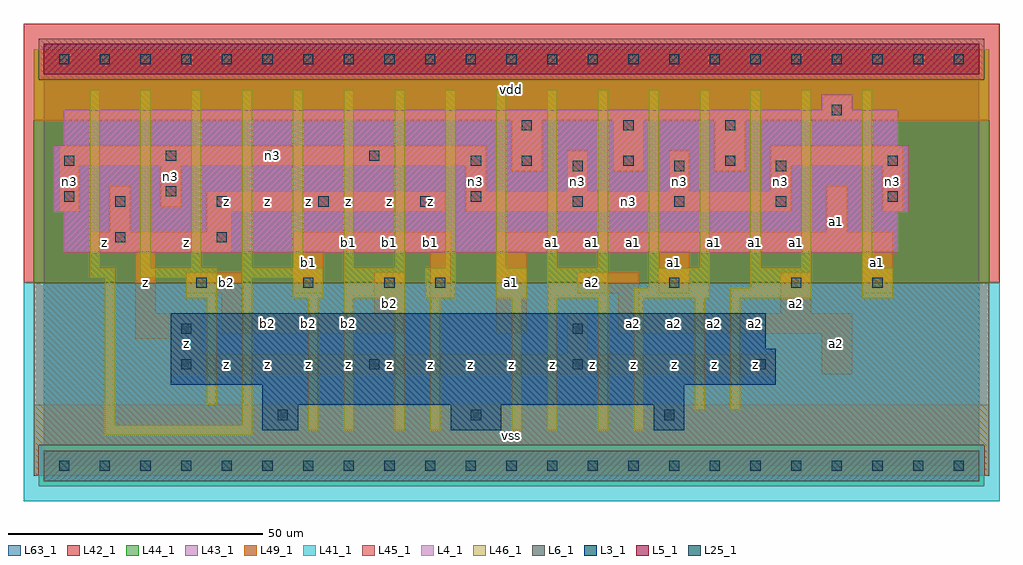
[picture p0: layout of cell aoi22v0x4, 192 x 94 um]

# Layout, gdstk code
import gdstk
lib = gdstk.Library(unit=1e-6, precision=1e-09)
def R(c, l, rs):  # rectangles x0, y0, x1, y1
    for r in rs: c.add(gdstk.rectangle(r[:2], r[2:], *l))
def A(c, l, x, y, w, h, nx, ny, dx, dy):  # array of equal rectangles
    R(c, l, [(x+i*dx, y+j*dy, x+i*dx+w, y+j*dy+h) for i in range(nx) for j in range(ny)])
L3_1 = (3, 1)
L4_1 = (4, 1)
L5_1 = (5, 1)
L6_1 = (6, 1)
L25_1 = (25, 1)
L41_1 = (41, 1)
L42_1 = (42, 1)
L43_1 = (43, 1)
L44_1 = (44, 1)
L45_1 = (45, 1)
L46_1 = (46, 1)
L49_1 = (49, 1)
L63_1 = (63, 1)

aoi22v0x4 = lib.new_cell('aoi22v0x4')
R(aoi22v0x4, L3_1, [(43,7,50,12), (80,7,90,12), (120,7,126,12), (43,12,126,16), (25,16,144,23), (25,23,142,30)])
R(aoi22v0x4, L4_1, [(4,42,168,50), (2,50,170,63), (4,63,168,70), (153,70,159,73)])
R(aoi22v0x4, L5_1, [(0,77,184,83)])
R(aoi22v0x4, L6_1, [(0,-3,184,3), (0,-3,184,3)])
A(aoi22v0x4, L25_1, 3, -1, 2, 2, 23, 2, 8, 80)
A(aoi22v0x4, L25_1, 46, 9, 2, 2, 3, 1, 38, 0)
A(aoi22v0x4, L25_1, 91, 35, 2, 2, 3, 1, 16, 0)
A(aoi22v0x4, L25_1, 14, 51, 2, 2, 4, 1, 20, 0)
A(aoi22v0x4, L25_1, 104, 51, 2, 2, 3, 2, 20, 7)
A(aoi22v0x4, L25_1, 94, 59, 2, 2, 3, 2, 20, 7)
A(aoi22v0x4, L25_1, 24, 60, 2, 2, 3, 1, 20, 0)
R(aoi22v0x4, L25_1, [(27,19,29,21), (64,19,66,21), (104,19,106,21), (140,19,142,21), (27,26,29,28), (104,26,106,28), (30,35,32,37), (51,35,53,37), (67,35,69,37), (77,35,79,37), (147,35,149,37), (163,35,165,37), (14,44,16,46), (34,44,36,46), (4,52,6,54), (84,52,86,54), (166,52,168,54), (24,53,26,55), (4,59,6,61), (84,59,86,61), (166,59,168,61), (155,69,157,71)])
R(aoi22v0x4, L41_1, [(-4,-7,188,36)])
R(aoi22v0x4, L42_1, [(-4,36,188,87)])
R(aoi22v0x4, L43_1, [(0,-3,184,3), (43,7,50,12), (80,7,90,12), (120,7,126,12), (43,12,126,16), (25,16,144,23), (25,23,142,30), (4,42,168,50), (2,50,170,63), (4,63,168,70), (153,70,159,73), (0,77,184,83)])
R(aoi22v0x4, L44_1, [(-1,-4,185,4), (-2,36,186,76), (-2,76,-1,82), (185,76,186,82)])
R(aoi22v0x4, L45_1, [(-2,-2,-1,4), (185,-2,186,4), (-2,4,186,36), (-1,76,185,84)])
A(aoi22v0x4, L46_1, 9, 39, 2, 35, 15, 1, 10, 0)
R(aoi22v0x4, L46_1, [(12,6,41,8), (52,7,54,33), (59,7,61,33), (69,7,71,33), (76,7,78,33), (92,7,94,33), (99,7,101,33), (109,7,111,33), (116,7,118,33), (12,8,14,37), (39,8,41,37), (128,11,130,33), (135,11,137,33), (32,12,34,33), (28,33,34,37), (49,33,55,37), (59,33,71,39), (75,33,81,39), (89,33,95,39), (99,33,111,39), (116,33,131,35), (135,33,151,35), (161,33,167,39), (119,35,131,39), (139,35,151,39), (9,37,14,39), (19,37,34,39), (39,37,55,39), (161,39,163,74)])
A(aoi22v0x4, L49_1, 92, 58, 6, 10, 3, 1, 20, 0)
R(aoi22v0x4, L49_1, [(-2,-2,186,12), (25,18,144,22), (153,18,159,26), (25,22,31,25), (103,22,107,30), (18,25,31,30), (35,26,71,30), (89,26,95,42), (113,26,159,30), (18,30,22,42), (35,30,39,34), (65,30,71,38), (113,30,117,34), (145,30,151,38), (76,33,80,42), (28,34,39,38), (49,34,55,42), (105,34,117,38), (121,34,127,42), (161,34,167,42), (9,42,37,46), (49,42,80,46), (89,42,167,46), (13,46,17,55), (32,46,37,50), (154,46,158,55), (3,50,7,59), (32,50,79,54), (83,50,147,54), (165,50,169,59), (23,51,27,59), (83,54,87,59), (103,54,107,62), (123,54,127,62), (143,54,147,59), (3,59,87,63), (143,59,169,63), (-2,68,186,82)])
R(aoi22v0x4, L63_1, [(0,0,184,80)])
aoi22v0x4.add(gdstk.Label('z', (20,36), layer=49, texttype=1))
aoi22v0x4.add(gdstk.Label('z', (12,44), layer=49, texttype=1))
aoi22v0x4.add(gdstk.Label('n3', (25,57), layer=49, texttype=1))
aoi22v0x4.add(gdstk.Label('n3', (5,56), layer=49, texttype=1))
aoi22v0x4.add(gdstk.Label('z', (36,20), layer=49, texttype=1))
aoi22v0x4.add(gdstk.Label('z', (44,20), layer=49, texttype=1))
aoi22v0x4.add(gdstk.Label('z', (52,20), layer=49, texttype=1))
aoi22v0x4.add(gdstk.Label('b2', (44,28), layer=49, texttype=1))
aoi22v0x4.add(gdstk.Label('b2', (52,28), layer=49, texttype=1))
aoi22v0x4.add(gdstk.Label('z', (28,24), layer=49, texttype=1))
aoi22v0x4.add(gdstk.Label('b2', (36,36), layer=49, texttype=1))
aoi22v0x4.add(gdstk.Label('b1', (52,40), layer=49, texttype=1))
aoi22v0x4.add(gdstk.Label('z', (28,44), layer=49, texttype=1))
aoi22v0x4.add(gdstk.Label('z', (36,52), layer=49, texttype=1))
aoi22v0x4.add(gdstk.Label('z', (44,52), layer=49, texttype=1))
aoi22v0x4.add(gdstk.Label('z', (52,52), layer=49, texttype=1))
aoi22v0x4.add(gdstk.Label('z', (60,20), layer=49, texttype=1))
aoi22v0x4.add(gdstk.Label('z', (68,20), layer=49, texttype=1))
aoi22v0x4.add(gdstk.Label('z', (76,20), layer=49, texttype=1))
aoi22v0x4.add(gdstk.Label('z', (84,20), layer=49, texttype=1))
aoi22v0x4.add(gdstk.Label('b2', (60,28), layer=49, texttype=1))
aoi22v0x4.add(gdstk.Label('b2', (68,32), layer=49, texttype=1))
aoi22v0x4.add(gdstk.Label('b1', (68,44), layer=49, texttype=1))
aoi22v0x4.add(gdstk.Label('b1', (76,44), layer=49, texttype=1))
aoi22v0x4.add(gdstk.Label('b1', (60,44), layer=49, texttype=1))
aoi22v0x4.add(gdstk.Label('z', (60,52), layer=49, texttype=1))
aoi22v0x4.add(gdstk.Label('z', (68,52), layer=49, texttype=1))
aoi22v0x4.add(gdstk.Label('z', (76,52), layer=49, texttype=1))
aoi22v0x4.add(gdstk.Label('n3', (85,56), layer=49, texttype=1))
aoi22v0x4.add(gdstk.Label('n3', (45,61), layer=49, texttype=1))
aoi22v0x4.add(gdstk.Label('vss', (92,6), layer=49, texttype=1))
aoi22v0x4.add(gdstk.Label('z', (92,20), layer=49, texttype=1))
aoi22v0x4.add(gdstk.Label('z', (100,20), layer=49, texttype=1))
aoi22v0x4.add(gdstk.Label('z', (108,20), layer=49, texttype=1))
aoi22v0x4.add(gdstk.Label('z', (116,20), layer=49, texttype=1))
aoi22v0x4.add(gdstk.Label('a2', (116,28), layer=49, texttype=1))
aoi22v0x4.add(gdstk.Label('a1', (92,36), layer=49, texttype=1))
aoi22v0x4.add(gdstk.Label('a2', (108,36), layer=49, texttype=1))
aoi22v0x4.add(gdstk.Label('a1', (100,44), layer=49, texttype=1))
aoi22v0x4.add(gdstk.Label('a1', (108,44), layer=49, texttype=1))
aoi22v0x4.add(gdstk.Label('a1', (116,44), layer=49, texttype=1))
aoi22v0x4.add(gdstk.Label('n3', (105,56), layer=49, texttype=1))
aoi22v0x4.add(gdstk.Label('vdd', (92,74), layer=49, texttype=1))
aoi22v0x4.add(gdstk.Label('z', (124,20), layer=49, texttype=1))
aoi22v0x4.add(gdstk.Label('z', (132,20), layer=49, texttype=1))
aoi22v0x4.add(gdstk.Label('z', (140,20), layer=49, texttype=1))
aoi22v0x4.add(gdstk.Label('a2', (132,28), layer=49, texttype=1))
aoi22v0x4.add(gdstk.Label('a2', (140,28), layer=49, texttype=1))
aoi22v0x4.add(gdstk.Label('a2', (124,28), layer=49, texttype=1))
aoi22v0x4.add(gdstk.Label('a2', (148,32), layer=49, texttype=1))
aoi22v0x4.add(gdstk.Label('a1', (132,44), layer=49, texttype=1))
aoi22v0x4.add(gdstk.Label('a1', (140,44), layer=49, texttype=1))
aoi22v0x4.add(gdstk.Label('a1', (148,44), layer=49, texttype=1))
aoi22v0x4.add(gdstk.Label('a1', (124,40), layer=49, texttype=1))
aoi22v0x4.add(gdstk.Label('n3', (115,52), layer=49, texttype=1))
aoi22v0x4.add(gdstk.Label('n3', (145,56), layer=49, texttype=1))
aoi22v0x4.add(gdstk.Label('n3', (125,56), layer=49, texttype=1))
aoi22v0x4.add(gdstk.Label('a2', (156,24), layer=49, texttype=1))
aoi22v0x4.add(gdstk.Label('a1', (164,40), layer=49, texttype=1))
aoi22v0x4.add(gdstk.Label('a1', (156,48), layer=49, texttype=1))
aoi22v0x4.add(gdstk.Label('n3', (167,56), layer=49, texttype=1))

lib.write_gds('aoi22v0x4.gds')
